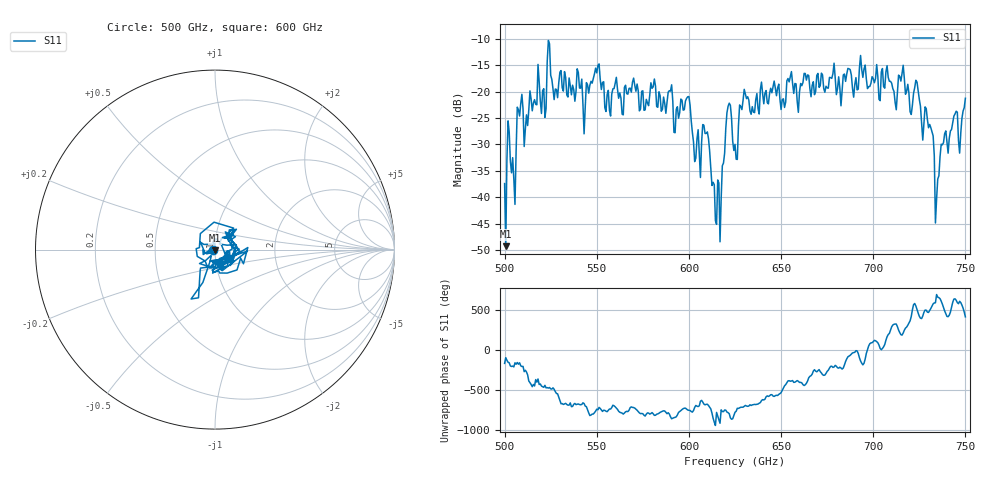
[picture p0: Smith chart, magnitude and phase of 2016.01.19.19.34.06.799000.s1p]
!Created with skrf (http://scikit-rf.org).
# GHz S RI R 50.0
!freq ReS11 ImS11
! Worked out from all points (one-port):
!   401 points, 500 GHz to 750 GHz, reference 50 ohm
!   lowest |S11| = -49.3 dB at 500.6 GHz (marker M1), VSWR 1.01, Z = 50 - j0.34 ohm
!   |S11| at or under -10 dB: start of sweep to end of sweep
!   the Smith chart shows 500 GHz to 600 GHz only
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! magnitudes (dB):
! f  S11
! 500 GHz  -37.4
! 500.6 GHz  -49.3
! 502.5 GHz  -27.7
! 505 GHz  -36.6
! 508.1 GHz  -24.6
! 521.2 GHz  -19.4
! 524.4 GHz  -10.9
! 527.5 GHz  -19.5
! 531.2 GHz  -19.3
! 543.8 GHz  -22.9
! 550 GHz  -16.4
! 562.5 GHz  -20.2
! 580.6 GHz  -19.1
! 593.8 GHz  -22.9
! 599.4 GHz  -21.0
! 605 GHz  -27.2
! 608.8 GHz  -27.9
! 615.6 GHz  -36.7
! 621.2 GHz  -22.8
! 625 GHz  -30.0
! 630.6 GHz  -20.4
! 656.2 GHz  -18.5
! 687.5 GHz  -15.8
! 718.8 GHz  -18.6
! 729.4 GHz  -25.2
! 735 GHz  -36.6
! 738.1 GHz  -29.7
! 750 GHz  -21.3
